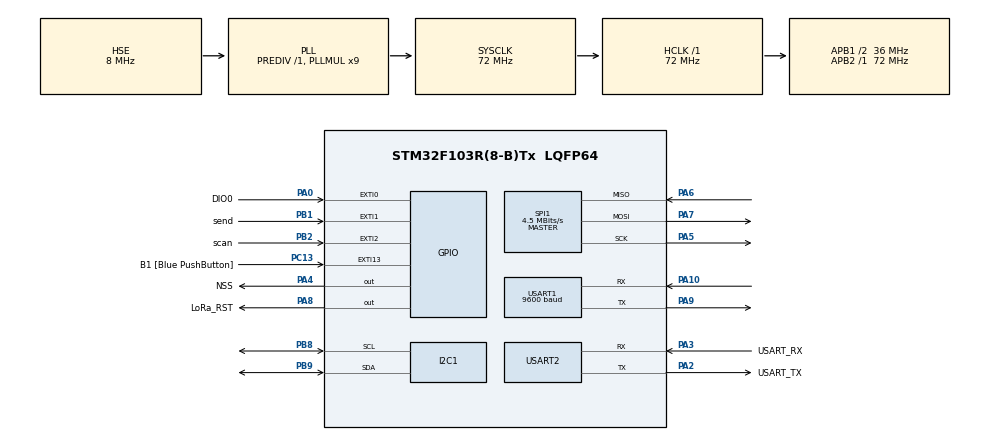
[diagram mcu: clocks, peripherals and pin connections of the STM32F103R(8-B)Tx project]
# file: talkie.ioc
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Mcu.Family=STM32F1
Mcu.Name=STM32F103R(8-B)Tx
Mcu.Package=LQFP64
NVIC.EXTI15_10_IRQn=true\:0\:0\:false\:false\:true\:true\:true\:true
NVIC.EXTI1_IRQn=true\:1\:0\:true\:false\:true\:true\:true\:true
NVIC.EXTI2_IRQn=true\:1\:0\:true\:false\:true\:true\:true\:true
NVIC.PriorityGroup=NVIC_PRIORITYGROUP_4
PA0-WKUP.GPIO_Label=DIO0
PA0-WKUP.Signal=GPXTI0
PA10.Mode=Asynchronous
PA10.Signal=USART1_RX
PA13.GPIO_Label=TMS
PA13.Mode=Serial_Wire
PA13.Signal=SYS_JTMS-SWDIO
PA14.GPIO_Label=TCK
PA14.Mode=Serial_Wire
PA14.Signal=SYS_JTCK-SWCLK
PA2.GPIO_Label=USART_TX
PA2.GPIO_Mode=GPIO_MODE_AF_PP
PA2.GPIO_PuPd=GPIO_NOPULL
PA2.GPIO_Speed=GPIO_SPEED_FREQ_LOW
PA2.Mode=Asynchronous
PA2.Signal=USART2_TX
PA3.GPIO_Label=USART_RX
PA3.GPIO_Mode=GPIO_MODE_AF_PP
PA3.GPIO_PuPd=GPIO_NOPULL
PA3.GPIO_Speed=GPIO_SPEED_FREQ_LOW
PA3.Mode=Asynchronous
PA3.Signal=USART2_RX
PA4.GPIO_Label=NSS
PA4.PinState=GPIO_PIN_SET
PA4.Signal=GPIO_Output
PA5.Mode=Full_Duplex_Master
PA5.Signal=SPI1_SCK
PA6.Mode=Full_Duplex_Master
PA6.Signal=SPI1_MISO
PA7.Mode=Full_Duplex_Master
PA7.Signal=SPI1_MOSI
PA8.GPIO_Label=LoRa_RST
PA8.PinState=GPIO_PIN_SET
PA8.Signal=GPIO_Output
PA9.Mode=Asynchronous
PA9.Signal=USART1_TX
PB1.GPIO_Label=send
PB1.GPIO_ModeDefaultEXTI=GPIO_MODE_IT_FALLING
PB1.GPIO_PuPd=GPIO_PULLUP
PB1.Signal=GPXTI1
PB2.GPIO_Label=scan
PB2.GPIO_ModeDefaultEXTI=GPIO_MODE_IT_FALLING
PB2.GPIO_PuPd=GPIO_PULLUP
PB2.Signal=GPXTI2
PB3.GPIO_Label=SWO
PB3.Signal=SYS_JTDO-TRACESWO
PB8.Mode=I2C
PB8.Signal=I2C1_SCL
PB9.Mode=I2C
PB9.Signal=I2C1_SDA
PC13-TAMPER-RTC.GPIO_Label=B1 [Blue PushButton]
PC13-TAMPER-RTC.GPIO_PuPd=GPIO_NOPULL
PC13-TAMPER-RTC.Signal=GPXTI13
PC14-OSC32_IN.Mode=LSE-External-Oscillator
PC14-OSC32_IN.Signal=RCC_OSC32_IN
PC15-OSC32_OUT.Mode=LSE-External-Oscillator
PC15-OSC32_OUT.Signal=RCC_OSC32_OUT
PD0-OSC_IN.Mode=HSE-External-Oscillator
PD0-OSC_IN.Signal=RCC_OSC_IN
PD1-OSC_OUT.Mode=HSE-External-Oscillator
PD1-OSC_OUT.Signal=RCC_OSC_OUT
ProjectManager.HeapSize=0x200
ProjectManager.StackSize=0x400
ProjectManager.TargetToolchain=Makefile
RCC.AHBFreq_Value=72000000
RCC.APB1CLKDivider=RCC_HCLK_DIV2
RCC.APB1Freq_Value=36000000
RCC.APB1TimFreq_Value=72000000
RCC.APB2Freq_Value=72000000
RCC.APB2TimFreq_Value=72000000
RCC.HCLKFreq_Value=72000000
RCC.PLLMUL=RCC_PLL_MUL9
RCC.PLLSourceVirtual=RCC_PLLSOURCE_HSE
RCC.RTCClockSelection=RCC_RTCCLKSOURCE_LSE
RCC.SYSCLKFreq_VALUE=72000000
RCC.SYSCLKSource=RCC_SYSCLKSOURCE_PLLCLK
RCC.USBFreq_Value=72000000
SPI1.BaudRatePrescaler=SPI_BAUDRATEPRESCALER_16
SPI1.CalculateBaudRate=4.5 MBits/s
SPI1.Direction=SPI_DIRECTION_2LINES
SPI1.Mode=SPI_MODE_MASTER
SPI1.VirtualType=VM_MASTER
USART1.BaudRate=9600
USART1.Mode=MODE_RX
USART1.VirtualMode=VM_ASYNC
USART2.VirtualMode=VM_ASYNC
board=NUCLEO-F103RB

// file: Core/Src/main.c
/* USER CODE BEGIN Header */
/**
  ******************************************************************************
  * @file           : main.c
  * @brief          : Main program body
  ******************************************************************************
  * @attention
  *
  * Copyright (c) 2025 STMicroelectronics.
  * All rights reserved.
  *
  * This software is licensed under terms that can be found in the LICENSE file
  * in the root directory of this software component.
  * If no LICENSE file comes with this software, it is provided AS-IS.
  *
  ******************************************************************************
  */
/* USER CODE END Header */
#include "main.h"
#include "i2c.h"
#include "spi.h"
#include "usart.h"
#include "gpio.h"

/* USER CODE BEGIN Includes */
#include "LoRa.h"
#include "gps.h"
#include "ssd1306.h"
#include "ssd1306_tests.h"
#include "ssd1306_fonts.h"
#include <string.h>
#include <stdio.h>

#include "../APP/comm.h"
#include "../APP/scan.h"
/* USER CODE END Includes */

/* USER CODE BEGIN PV */
// i2c for oled

// declaring the objects
GPS_t gps;
//#define NODE_ID	1
#define NODE_ID	2

volatile bool	scan_btn_pressed = false;
volatile bool	send_btn_pressed = false;

/* USER CODE END PV */

void SystemClock_Config(void);

/* USER CODE BEGIN 0 */

void HAL_UART_RxCpltCallback(UART_HandleTypeDef *huart)
{
	if(huart == &huart1) GPS_UART_CallBack();
}

/* USER CODE END 0 */

int main(void)
{

  /* MCU Configuration--------------------------------------------------------*/

  /* Reset of all peripherals, Initializes the Flash interface and the Systick. */
  HAL_Init();

  /* Configure the system clock */
  SystemClock_Config();

  /* Initialize all configured peripherals */
  MX_GPIO_Init();
  MX_USART2_UART_Init();
  MX_SPI1_Init();
  MX_I2C1_Init();
  MX_USART1_UART_Init();
  /* USER CODE BEGIN 2 */

// ======================OLED SETUP =============================

// Initialize the display
ssd1306_Init();

// clear the display buffer
ssd1306_Fill(Black);

// set cursor position and write text
ssd1306_SetCursor(16, 16);
ssd1306_WriteString("Startup...", Font_11x18, White);

// update the display
ssd1306_UpdateScreen();
HAL_Delay(500);
ssd1306_Fill(Black);

// ====================== LORA SETUP ==========================
// configuring SPI pins for lora

uint16_t	status = COMM_Init();

// `memset(send_data, 0, 200);

if (status == LORA_OK)
	{
		// whatever
		/*
		snprintf(send_data, sizeof(send_data), "\n\r LoRa OK! :)");
		LoRa_transmit(&lora, (uint8_t*)send_data, 120, 100);
		HAL_UART_Transmit(&huart1, (uint8_t*)send_data, 200, 200);
		*/
		ssd1306_SetCursor(16, 16);
		ssd1306_WriteString("LoRa OK!", Font_11x18, White);
		ssd1306_UpdateScreen();
		HAL_Delay(500);
	}
else if (status == LORA_NOT_FOUND)
	{
		// mcu cant communicate with lora
		ssd1306_WriteString("LoRa not found, check wiring!", Font_11x18, White);
		ssd1306_UpdateScreen();
		HAL_Delay(500);
	}
else if (status == LORA_UNAVAILABLE)
	{
		// setup is not correct
		ssd1306_WriteString("Setup is not correct..", Font_11x18, White);
		ssd1306_UpdateScreen();
		ssd1306_UpdateScreen();
		HAL_Delay(500);

	}

// ====================== GPS SETUP ==========================
GPS_Init();

void GPS_display_status(GPS_t *gps)
{
	ssd1306_SetCursor(0, 16); // adjust position as needed

	if (gps->lock == 0)
    	{
		// GPS module is connected but no fix yet
		ssd1306_WriteString("GPS: no fix", Font_11x18, White);
	}
	else if (gps->lock > 0 && gps->satelites >= 3)
	{
		// GPS has a valid fix (3+ satellites)
		ssd1306_WriteString("GPS OK!", Font_11x18, White);
	}
	else
	{
		// if GPS string is invalid or module not responding
		ssd1306_WriteString("GPS not found!", Font_11x18, White);
	}

    ssd1306_UpdateScreen();
}

char gps_buffer[GPSBUFSIZE];

GPS_parse(gps_buffer); // this fills the gps struct

GPS_display_status(&gps);
HAL_Delay(500);

// ====================== Main screen code ==========================

void	main_screen(void)
{
	ssd1306_Fill(Black);
	// Draw text strings (scaled 2x positions)
	ssd1306_SetCursor(80, 44);
	ssd1306_WriteString("send", Font_7x10, White);

	ssd1306_SetCursor(14, 44);
	ssd1306_WriteString("scan", Font_7x10, White);

	// Draw lines (paper airplane icon - scaled 2x)
	ssd1306_Line(84, 22, 112, 10, White);
	ssd1306_Line(114, 10, 74, 12, White);
	ssd1306_Line(114, 10, 98, 32, White);
	ssd1306_Line(84, 22, 100, 34, White);
	ssd1306_Line(84, 22, 74, 12, White);
	ssd1306_Line(80, 20, 84, 32, White);
	ssd1306_Line(84, 34, 94, 28, White);

	// Draw circles (scan/radar icon - scaled 2x)
	ssd1306_DrawCircle(30, 22, 8, White);
	ssd1306_DrawCircle(30, 22, 14, White);
	ssd1306_DrawPixel(30, 22, White);
	ssd1306_DrawCircle(30, 22, 2, White);

	// Update the display
	ssd1306_UpdateScreen();
}

void	scan_mode(void)
{
		// Draw filled rectangle (64x64 at position 0,0) - replaces bitmap
		ssd1306_Fill(Black);
		ssd1306_FillRectangle(0, 0, 64, 64, White);

		// Draw "send" text in white (scaled 2x)
		ssd1306_SetCursor(80, 44);
		ssd1306_WriteString("send", Font_7x10, White);

		// Draw line (paper airplane part)
		ssd1306_Line(84, 22, 112, 10, White);

		// Draw "scan" text in black (erases)
		ssd1306_SetCursor(14, 44);
		ssd1306_WriteString("scan", Font_7x10, Black);

		// Draw more lines (paper airplane icon - scaled 2x)
		ssd1306_Line(114, 10, 74, 12, White);
		ssd1306_Line(114, 10, 98, 32, White);
		ssd1306_Line(84, 22, 100, 34, White);
		ssd1306_Line(84, 22, 74, 12, White);
		ssd1306_Line(80, 20, 84, 32, White);
		ssd1306_Line(84, 34, 94, 28, White);

		// Draw circles in black (erases the scan icon)
		ssd1306_DrawCircle(30, 22, 8, Black);
		ssd1306_DrawCircle(30, 22, 14, Black);

		// Draw center point in white
		ssd1306_DrawPixel(30, 22, White);

		// Draw small circle in black
		ssd1306_DrawCircle(30, 22, 2, Black);

		// Update the display
		ssd1306_UpdateScreen();
		HAL_Delay(500);
}

void	send_mode(void)
{
		ssd1306_Fill(Black);
		// Draw filled rectangle (64x64 at position 64,0) - replaces bitmap
		ssd1306_FillRectangle(64, 0, 128, 64, White);

		// Draw "send" text in black (erases)
		ssd1306_SetCursor(80, 44);
		ssd1306_WriteString("send", Font_7x10, Black);

		// Draw line in black (paper airplane - erased)
		ssd1306_Line(84, 22, 112, 10, Black);

		// Draw "scan" text in white
		ssd1306_SetCursor(14, 44);
		ssd1306_WriteString("scan", Font_7x10, White);

		// Draw more lines in black (paper airplane icon - erased)
		ssd1306_Line(114, 10, 74, 12, Black);
		ssd1306_Line(114, 10, 98, 32, Black);
		ssd1306_Line(84, 22, 100, 34, Black);
		ssd1306_Line(84, 22, 74, 12, Black);
		ssd1306_Line(80, 20, 84, 32, Black);
		ssd1306_Line(84, 34, 94, 28, Black);

		// Draw circles in white (scan/radar icon)
		ssd1306_DrawCircle(30, 22, 8, White);
		ssd1306_DrawCircle(30, 22, 14, White);

		// Draw center point in white
		ssd1306_DrawPixel(30, 22, White);

		// Draw small circle in white
		ssd1306_DrawCircle(30, 22, 2, White);

		// Update the display
		ssd1306_UpdateScreen();
		HAL_Delay(500);
}
  /* USER CODE END 2 */

SCAN_Init();
main_screen();

  /* Infinite loop */
  while (1)
  {

	COMM_Process();
	SCAN_Process();

	// SCANNING
	if (scan_btn_pressed)
	{
		scan_btn_pressed = false;
		scan_mode();

		SCAN_Start();

		ssd1306_Fill(Black);
		ssd1306_SetCursor(16, 16);
		ssd1306_WriteString("SCANNING..", Font_11x18, White);
		ssd1306_UpdateScreen();
	}
	// SENDING
	if (send_btn_pressed)
	{
		send_btn_pressed = false;
		send_mode();
		COMM_SendTest(NODE_ID);

		ssd1306_Fill(Black);
		ssd1306_SetCursor(16,16);
		ssd1306_WriteString("Test sent", Font_11x18, White);
		ssd1306_UpdateScreen();
		HAL_Delay(500);
		main_screen();
	}

	if (COMM_HasMessage())
	{
		uint8_t	sender;
		uint8_t	type = COMM_GetMessage(&sender);

		ssd1306_Fill(Black);
		ssd1306_SetCursor(16, 16);
		if (type == MSG_TEST)
			ssd1306_WriteString("Test RX", Font_11x18, White);
		else if (type == MSG_SCAN)
			ssd1306_WriteString("Scan RX", Font_11x18, White);

		ssd1306_SetCursor(16, 0);
		char	buf[16];
		sprintf(buf, "FROM %d", sender);
		ssd1306_WriteString(buf, Font_11x18, White);
		ssd1306_UpdateScreen();

	}

  }
}

void SystemClock_Config(void)
{
  RCC_OscInitTypeDef RCC_OscInitStruct = {0};
  RCC_ClkInitTypeDef RCC_ClkInitStruct = {0};

  /** Initializes the RCC Oscillators according to the specified parameters
  * in the RCC_OscInitTypeDef structure.
  */
  RCC_OscInitStruct.OscillatorType = RCC_OSCILLATORTYPE_HSE;
  RCC_OscInitStruct.HSEState = RCC_HSE_ON;
  RCC_OscInitStruct.HSEPredivValue = RCC_HSE_PREDIV_DIV1;
  RCC_OscInitStruct.HSIState = RCC_HSI_ON;
  RCC_OscInitStruct.PLL.PLLState = RCC_PLL_ON;
  RCC_OscInitStruct.PLL.PLLSource = RCC_PLLSOURCE_HSE;
  RCC_OscInitStruct.PLL.PLLMUL = RCC_PLL_MUL9;
  if (HAL_RCC_OscConfig(&RCC_OscInitStruct) != HAL_OK)
  {
    Error_Handler();
  }

  /** Initializes the CPU, AHB and APB buses clocks
  */
  RCC_ClkInitStruct.ClockType = RCC_CLOCKTYPE_HCLK|RCC_CLOCKTYPE_SYSCLK
                              |RCC_CLOCKTYPE_PCLK1|RCC_CLOCKTYPE_PCLK2;
  RCC_ClkInitStruct.SYSCLKSource = RCC_SYSCLKSOURCE_PLLCLK;
  RCC_ClkInitStruct.AHBCLKDivider = RCC_SYSCLK_DIV1;
  RCC_ClkInitStruct.APB1CLKDivider = RCC_HCLK_DIV2;
  RCC_ClkInitStruct.APB2CLKDivider = RCC_HCLK_DIV1;

  if (HAL_RCC_ClockConfig(&RCC_ClkInitStruct, FLASH_LATENCY_2) != HAL_OK)
  {
    Error_Handler();
  }
}

/* USER CODE BEGIN 4 */
void	HAL_GPIO_EXTI_Callback(uint16_t GPIO_pin)
{
	if (GPIO_pin == scan_Pin)
		scan_btn_pressed = true;
	else if (GPIO_pin == send_Pin)
		send_btn_pressed = true;
}
/* USER CODE END 4 */

void Error_Handler(void)
{
  __disable_irq();
  while (1)
  {
  }
}
